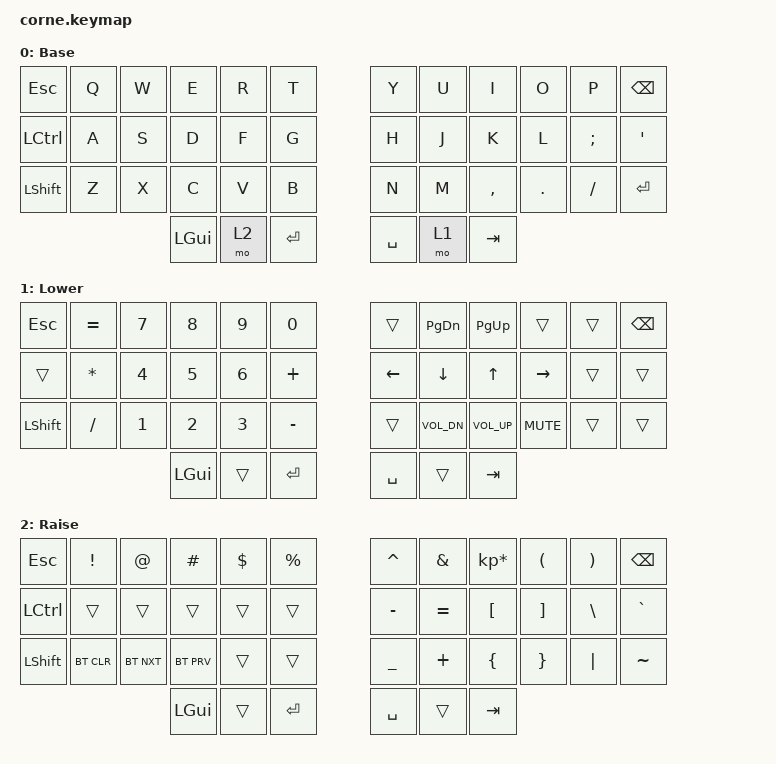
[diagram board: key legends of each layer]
/*
 * Copyright (c) 2020 The ZMK Contributors
 *
 * SPDX-License-Identifier: MIT
 */

#include <behaviors.dtsi>
#include <dt-bindings/zmk/bt.h>
#include <dt-bindings/zmk/keys.h>

/ {
    keymap {
        compatible = "zmk,keymap";

        default_layer {
            // -----------------------------------------------------------------------------------------
            // |  TAB |  Q  |  W  |  E  |  R  |  T  |   |  Y  |  U   |  I  |  O  |  P  | BKSP |
            // | CTRL |  A  |  S  |  D  |  F  |  G  |   |  H  |  J   |  K  |  L  |  ;  |  '   |
            // | SHFT |  Z  |  X  |  C  |  V  |  B  |   |  N  |  M   |  ,  |  .  |  /  | ESC  |
            //                    | GUI | LWR | SPC |   | ENT | RSE  | ALT |

            display-name = "Base";
            bindings = <
&kp ESC    &kp Q  &kp W  &kp E     &kp R  &kp T        &kp Y      &kp U  &kp I      &kp O    &kp P     &kp BSPC
&kp LCTRL  &kp A  &kp S  &kp D     &kp F  &kp G        &kp H      &kp J  &kp K      &kp L    &kp SEMI  &kp SQT
&kp LSHFT  &kp Z  &kp X  &kp C     &kp V  &kp B        &kp N      &kp M  &kp COMMA  &kp DOT  &kp FSLH  &kp ENTER
                         &kp LGUI  &mo 2  &kp ENTER    &kp SPACE  &mo 1  &kp TAB
            >;
        };

        lower_layer {
            // -----------------------------------------------------------------------------------------
            // |  TAB |  1  |  2  |  3  |  4  |  5  |   |  6  |  7  |  8  |  9  |  0  | BKSP |
            // | BTCLR| BT1 | BT2 | BT3 | BT4 | BT5 |   | LFT | DWN |  UP | RGT |     |      |
            // | SHFT |     |     |     |     |     |   |     |     |     |     |     |      |
            //                    | GUI |     | SPC |   | ENT |     | ALT |

            display-name = "Lower";
            bindings = <
&kp ESC    &kp EQUAL     &kp NUMBER_7  &kp NUMBER_8  &kp NUMBER_9  &kp NUMBER_0    &trans     &kp PAGE_DOWN  &kp PAGE_UP   &trans      &trans  &kp BSPC
&trans     &kp ASTERISK  &kp NUMBER_4  &kp N5        &kp NUMBER_6  &kp PLUS        &kp LEFT   &kp DOWN       &kp UP        &kp RIGHT   &trans  &trans
&kp LSHFT  &kp SLASH     &kp NUMBER_1  &kp NUMBER_2  &kp NUMBER_3  &kp MINUS       &trans     &kp C_VOL_DN   &kp C_VOL_UP  &kp K_MUTE  &trans  &trans
                                       &kp LGUI      &trans        &kp ENTER       &kp SPACE  &trans         &kp TAB
            >;
        };

        raise_layer {
            // -----------------------------------------------------------------------------------------
            // |  TAB |  !  |  @  |  #  |  $  |  %  |   |  ^  |  &  |  *  |  (  |  )  | BKSP |
            // | CTRL |     |     |     |     |     |   |  -  |  =  |  [  |  ]  |  \  |  `   |
            // | SHFT |     |     |     |     |     |   |  _  |  +  |  {  |  }  | "|" |  ~   |
            //                    | GUI |     | SPC |   | ENT |     | ALT |

            display-name = "Raise";
            bindings = <
&kp ESCAPE  &kp EXCL    &kp AT      &kp HASH    &kp DLLR  &kp PRCNT    &kp CARET  &kp AMPS   &kp KP_MULTIPLY  &kp LPAR  &kp RPAR  &kp BSPC
&kp LCTRL   &trans      &trans      &trans      &trans    &trans       &kp MINUS  &kp EQUAL  &kp LBKT         &kp RBKT  &kp BSLH  &kp GRAVE
&kp LSHFT   &bt BT_CLR  &bt BT_NXT  &bt BT_PRV  &trans    &trans       &kp UNDER  &kp PLUS   &kp LBRC         &kp RBRC  &kp PIPE  &kp TILDE
                                    &kp LGUI    &trans    &kp ENTER    &kp SPACE  &trans     &kp TAB
            >;
        };
    };
};
